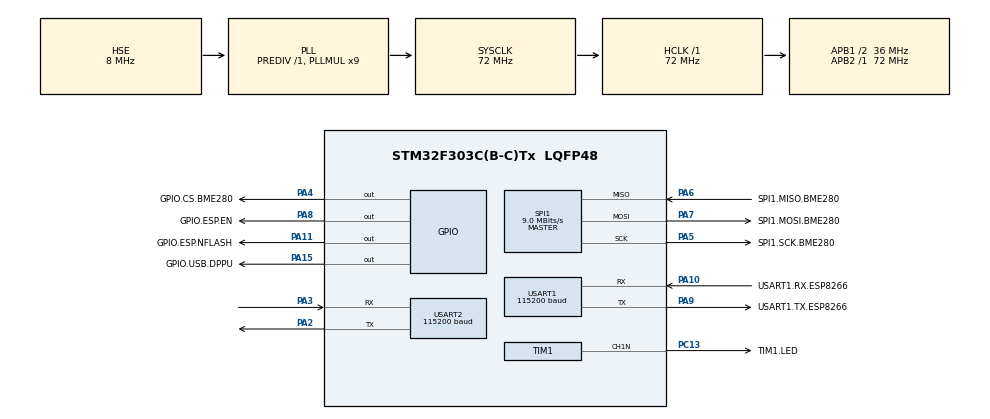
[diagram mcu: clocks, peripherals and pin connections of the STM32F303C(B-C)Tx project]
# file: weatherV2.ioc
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Dma.Request0=SPI1_RX
Dma.Request1=SPI1_TX
Dma.Request2=USART1_TX
Dma.Request3=USART1_RX
Dma.Request4=USART2_TX
Dma.Request5=USART2_RX
Dma.SPI1_RX.0.Direction=DMA_PERIPH_TO_MEMORY
Dma.SPI1_RX.0.Instance=DMA1_Channel2
Dma.SPI1_RX.0.MemDataAlignment=DMA_MDATAALIGN_BYTE
Dma.SPI1_RX.0.MemInc=DMA_MINC_ENABLE
Dma.SPI1_RX.0.Mode=DMA_NORMAL
Dma.SPI1_RX.0.PeriphDataAlignment=DMA_PDATAALIGN_BYTE
Dma.SPI1_RX.0.PeriphInc=DMA_PINC_DISABLE
Dma.SPI1_RX.0.Priority=DMA_PRIORITY_LOW
Dma.SPI1_TX.1.Direction=DMA_MEMORY_TO_PERIPH
Dma.SPI1_TX.1.Instance=DMA1_Channel3
Dma.SPI1_TX.1.MemDataAlignment=DMA_MDATAALIGN_BYTE
Dma.SPI1_TX.1.MemInc=DMA_MINC_ENABLE
Dma.SPI1_TX.1.Mode=DMA_NORMAL
Dma.SPI1_TX.1.PeriphDataAlignment=DMA_PDATAALIGN_BYTE
Dma.SPI1_TX.1.PeriphInc=DMA_PINC_DISABLE
Dma.SPI1_TX.1.Priority=DMA_PRIORITY_LOW
Dma.USART1_RX.3.Direction=DMA_PERIPH_TO_MEMORY
Dma.USART1_RX.3.Instance=DMA1_Channel5
Dma.USART1_RX.3.MemDataAlignment=DMA_MDATAALIGN_BYTE
Dma.USART1_RX.3.MemInc=DMA_MINC_ENABLE
Dma.USART1_RX.3.Mode=DMA_CIRCULAR
Dma.USART1_RX.3.PeriphDataAlignment=DMA_PDATAALIGN_BYTE
Dma.USART1_RX.3.PeriphInc=DMA_PINC_DISABLE
Dma.USART1_RX.3.Priority=DMA_PRIORITY_LOW
Dma.USART1_TX.2.Direction=DMA_MEMORY_TO_PERIPH
Dma.USART1_TX.2.Instance=DMA1_Channel4
Dma.USART1_TX.2.MemDataAlignment=DMA_MDATAALIGN_BYTE
Dma.USART1_TX.2.MemInc=DMA_MINC_ENABLE
Dma.USART1_TX.2.Mode=DMA_NORMAL
Dma.USART1_TX.2.PeriphDataAlignment=DMA_PDATAALIGN_BYTE
Dma.USART1_TX.2.PeriphInc=DMA_PINC_DISABLE
Dma.USART1_TX.2.Priority=DMA_PRIORITY_LOW
Dma.USART2_RX.5.Direction=DMA_PERIPH_TO_MEMORY
Dma.USART2_RX.5.Instance=DMA1_Channel6
Dma.USART2_RX.5.MemDataAlignment=DMA_MDATAALIGN_BYTE
Dma.USART2_RX.5.MemInc=DMA_MINC_ENABLE
Dma.USART2_RX.5.Mode=DMA_CIRCULAR
Dma.USART2_RX.5.PeriphDataAlignment=DMA_PDATAALIGN_BYTE
Dma.USART2_RX.5.PeriphInc=DMA_PINC_DISABLE
Dma.USART2_RX.5.Priority=DMA_PRIORITY_LOW
Dma.USART2_TX.4.Direction=DMA_MEMORY_TO_PERIPH
Dma.USART2_TX.4.Instance=DMA1_Channel7
Dma.USART2_TX.4.MemDataAlignment=DMA_MDATAALIGN_BYTE
Dma.USART2_TX.4.MemInc=DMA_MINC_ENABLE
Dma.USART2_TX.4.Mode=DMA_NORMAL
Dma.USART2_TX.4.PeriphDataAlignment=DMA_PDATAALIGN_BYTE
Dma.USART2_TX.4.PeriphInc=DMA_PINC_DISABLE
Dma.USART2_TX.4.Priority=DMA_PRIORITY_LOW
FREERTOS.Tasks01=defaultTask,24,128,StartDefaultTask,Default,NULL,Dynamic,NULL,NULL
Mcu.Family=STM32F3
Mcu.Name=STM32F303C(B-C)Tx
Mcu.Package=LQFP48
NVIC.DMA1_Channel2_IRQn=true\:5\:0\:false\:false\:true\:true\:false\:true\:true
NVIC.DMA1_Channel3_IRQn=true\:5\:0\:false\:false\:true\:true\:false\:true\:true
NVIC.DMA1_Channel4_IRQn=true\:5\:0\:false\:false\:true\:true\:false\:true\:true
NVIC.DMA1_Channel5_IRQn=true\:5\:0\:false\:false\:true\:true\:false\:true\:true
NVIC.DMA1_Channel6_IRQn=true\:5\:0\:false\:false\:true\:true\:false\:true\:true
NVIC.DMA1_Channel7_IRQn=true\:5\:0\:false\:false\:true\:true\:false\:true\:true
NVIC.PriorityGroup=NVIC_PRIORITYGROUP_4
NVIC.RTC_WKUP_IRQn=true\:5\:0\:false\:false\:true\:true\:true\:true\:true
NVIC.TIM2_IRQn=true\:15\:0\:false\:false\:true\:false\:false\:true\:true
NVIC.TimeBase=TIM2_IRQn
NVIC.TimeBaseIP=TIM2
NVIC.USART1_IRQn=true\:5\:0\:false\:false\:true\:true\:true\:true\:true
NVIC.USART2_IRQn=true\:5\:0\:false\:false\:true\:true\:true\:true\:true
PA10.GPIO_Label=USART1.RX.ESP8266
PA10.Mode=Asynchronous
PA10.Signal=USART1_RX
PA11.GPIO_Label=GPIO.ESP.NFLASH
PA11.PinState=GPIO_PIN_SET
PA11.Signal=GPIO_Output
PA13.Mode=Serial_Wire
PA13.Signal=SYS_JTMS-SWDIO
PA14.Mode=Serial_Wire
PA14.Signal=SYS_JTCK-SWCLK
PA15.GPIO_Label=GPIO.USB.DPPU
PA15.Signal=GPIO_Output
PA2.Mode=Asynchronous
PA2.Signal=USART2_TX
PA3.Mode=Asynchronous
PA3.Signal=USART2_RX
PA4.GPIO_Label=GPIO.CS.BME280
PA4.PinState=GPIO_PIN_SET
PA4.Signal=GPIO_Output
PA5.GPIO_Label=SPI1.SCK.BME280
PA5.Mode=Full_Duplex_Master
PA5.Signal=SPI1_SCK
PA6.GPIO_Label=SPI1.MISO.BME280
PA6.Mode=Full_Duplex_Master
PA6.Signal=SPI1_MISO
PA7.GPIO_Label=SPI1.MOSI.BME280
PA7.Mode=Full_Duplex_Master
PA7.Signal=SPI1_MOSI
PA8.GPIO_Label=GPIO.ESP.EN
PA8.Signal=GPIO_Output
PA9.GPIO_Label=USART1.TX.ESP8266
PA9.Mode=Asynchronous
PA9.Signal=USART1_TX
PC13.GPIO_Label=TIM1.LED
PC13.Mode=PWM Generation1 CH1N
PC13.Signal=TIM1_CH1N
PF0-OSC_IN.Mode=HSE-External-Oscillator
PF0-OSC_IN.Signal=RCC_OSC_IN
PF1-OSC_OUT.Mode=HSE-External-Oscillator
PF1-OSC_OUT.Signal=RCC_OSC_OUT
ProjectManager.HeapSize=0x200
ProjectManager.StackSize=0x400
ProjectManager.TargetToolchain=STM32CubeIDE
RCC.AHBFreq_Value=72000000
RCC.APB1CLKDivider=RCC_HCLK_DIV2
RCC.APB1Freq_Value=36000000
RCC.APB1TimFreq_Value=72000000
RCC.APB2Freq_Value=72000000
RCC.APB2TimFreq_Value=72000000
RCC.CortexFreq_Value=72000000
RCC.HCLKFreq_Value=72000000
RCC.HSE_VALUE=8000000
RCC.HSI_VALUE=8000000
RCC.LSE_VALUE=32768
RCC.PLLMUL=RCC_PLL_MUL9
RCC.PLLSourceVirtual=RCC_PLLSOURCE_HSE
RCC.PRESCALERUSB=RCC_USBCLKSOURCE_PLL_DIV1_5
RCC.SYSCLKFreq_VALUE=72000000
RCC.SYSCLKSourceVirtual=RCC_SYSCLKSOURCE_PLLCLK
RCC.USBFreq_Value=48000000
RTC.AsynchPrediv=100-1
RTC.SynchPrediv=400-1
RTC.WakeUpClock-WakeUp=RTC_WAKEUPCLOCK_CK_SPRE_16BITS
RTC.WakeUpCounter-WakeUp=60
SPI1.BaudRatePrescaler=SPI_BAUDRATEPRESCALER_8
SPI1.CalculateBaudRate=9.0 MBits/s
SPI1.DataSize=SPI_DATASIZE_8BIT
SPI1.Direction=SPI_DIRECTION_2LINES
SPI1.Mode=SPI_MODE_MASTER
SPI1.VirtualType=VM_MASTER
TIM1.Channel-PWM\ Generation1\ CH1N=TIM_CHANNEL_1
TIM1.ClockDivision=TIM_CLOCKDIVISION_DIV4
TIM1.OCNPolarity_1=TIM_OCNPOLARITY_LOW
TIM1.Period=100-1
TIM1.Prescaler=1800-1
TIM1.Pulse-PWM\ Generation1\ CH1N=50
USART1.BaudRate=115200
USART1.OverSampling=UART_OVERSAMPLING_8
USART1.VirtualMode-Asynchronous=VM_ASYNC
USART2.BaudRate=115200
USART2.VirtualMode-Asynchronous=VM_ASYNC
VP_FREERTOS_VS_CMSIS_V2.Mode=CMSIS_V2
VP_IWDG_VS_IWDG.Mode=IWDG_Activate
VP_RTC_VS_RTC_Activate.Mode=RTC_Enabled
VP_RTC_VS_RTC_WakeUp_intern.Mode=WakeUp
VP_SYS_VS_tim2.Mode=TIM2
VP_TIM1_VS_ClockSourceINT.Mode=Internal
board=custom

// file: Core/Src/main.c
/* USER CODE BEGIN Header */
/**
  ******************************************************************************
  * @file           : main.c
  * @brief          : Main program body
  ******************************************************************************
  * @attention
  *
  * Copyright (c) 2024 STMicroelectronics.
  * All rights reserved.
  *
  * This software is licensed under terms that can be found in the LICENSE file
  * in the root directory of this software component.
  * If no LICENSE file comes with this software, it is provided AS-IS.
  *
  ******************************************************************************
  */
/* USER CODE END Header */
#include "main.h"
#include "cmsis_os.h"

/* USER CODE BEGIN Includes */
#include "weather.h"
#include "comms.h"
#include "usart.h"
#include "esp.h"
#include "pwr.h"
#include "led.h"

/* USER CODE END Includes */

IWDG_HandleTypeDef hiwdg;

RTC_HandleTypeDef hrtc;

SPI_HandleTypeDef hspi1;
DMA_HandleTypeDef hdma_spi1_rx;
DMA_HandleTypeDef hdma_spi1_tx;

TIM_HandleTypeDef htim1;

UART_HandleTypeDef huart1;
UART_HandleTypeDef huart2;
DMA_HandleTypeDef hdma_usart1_tx;
DMA_HandleTypeDef hdma_usart1_rx;
DMA_HandleTypeDef hdma_usart2_tx;
DMA_HandleTypeDef hdma_usart2_rx;

/* Definitions for defaultTask */
osThreadId_t defaultTaskHandle;
const osThreadAttr_t defaultTask_attributes = {
  .name = "defaultTask",
  .stack_size = 128 * 4,
  .priority = (osPriority_t) osPriorityNormal,
};
/* USER CODE BEGIN PV */
osThreadId_t weatherTaskHandle;
osEventFlagsId_t systemEvents;

/* USER CODE END PV */

void SystemClock_Config(void);
static void MX_GPIO_Init(void);
static void MX_DMA_Init(void);
static void MX_SPI1_Init(void);
static void MX_USART1_UART_Init(void);
static void MX_TIM1_Init(void);
static void MX_USART2_UART_Init(void);
static void MX_IWDG_Init(void);
static void MX_RTC_Init(void);
void StartDefaultTask(void *argument);

int main(void)
{

  /* MCU Configuration--------------------------------------------------------*/

  /* Reset of all peripherals, Initializes the Flash interface and the Systick. */
  HAL_Init();

  /* Configure the system clock */
  SystemClock_Config();

  /* Initialize all configured peripherals */
  MX_GPIO_Init();
  MX_DMA_Init();
  MX_SPI1_Init();
  MX_USART1_UART_Init();
  MX_TIM1_Init();
  MX_USART2_UART_Init();
  MX_IWDG_Init();
  MX_RTC_Init();
  /* USER CODE BEGIN 2 */
  USART_Init();

  WTHR_Init();
  ESP_Init();
  PWR_Init();

  /* USER CODE END 2 */

  /* Init scheduler */
  osKernelInitialize();

  /* Create the thread(s) */
  /* creation of defaultTask */
  defaultTaskHandle = osThreadNew(StartDefaultTask, NULL, &defaultTask_attributes);

  /* Start scheduler */
  osKernelStart();

  /* We should never get here as control is now taken by the scheduler */
  /* Infinite loop */
  while (1)
  {

  }
}

void SystemClock_Config(void)
{
  RCC_OscInitTypeDef RCC_OscInitStruct = {0};
  RCC_ClkInitTypeDef RCC_ClkInitStruct = {0};
  RCC_PeriphCLKInitTypeDef PeriphClkInit = {0};

  /** Initializes the RCC Oscillators according to the specified parameters
  * in the RCC_OscInitTypeDef structure.
  */
  RCC_OscInitStruct.OscillatorType = RCC_OSCILLATORTYPE_LSI|RCC_OSCILLATORTYPE_HSE;
  RCC_OscInitStruct.HSEState = RCC_HSE_ON;
  RCC_OscInitStruct.HSEPredivValue = RCC_HSE_PREDIV_DIV1;
  RCC_OscInitStruct.HSIState = RCC_HSI_ON;
  RCC_OscInitStruct.LSIState = RCC_LSI_ON;
  RCC_OscInitStruct.PLL.PLLState = RCC_PLL_ON;
  RCC_OscInitStruct.PLL.PLLSource = RCC_PLLSOURCE_HSE;
  RCC_OscInitStruct.PLL.PLLMUL = RCC_PLL_MUL9;
  if (HAL_RCC_OscConfig(&RCC_OscInitStruct) != HAL_OK)
  {
    Error_Handler();
  }

  /** Initializes the CPU, AHB and APB buses clocks
  */
  RCC_ClkInitStruct.ClockType = RCC_CLOCKTYPE_HCLK|RCC_CLOCKTYPE_SYSCLK
                              |RCC_CLOCKTYPE_PCLK1|RCC_CLOCKTYPE_PCLK2;
  RCC_ClkInitStruct.SYSCLKSource = RCC_SYSCLKSOURCE_PLLCLK;
  RCC_ClkInitStruct.AHBCLKDivider = RCC_SYSCLK_DIV1;
  RCC_ClkInitStruct.APB1CLKDivider = RCC_HCLK_DIV2;
  RCC_ClkInitStruct.APB2CLKDivider = RCC_HCLK_DIV1;

  if (HAL_RCC_ClockConfig(&RCC_ClkInitStruct, FLASH_LATENCY_2) != HAL_OK)
  {
    Error_Handler();
  }
  PeriphClkInit.PeriphClockSelection = RCC_PERIPHCLK_USART1|RCC_PERIPHCLK_USART2
                              |RCC_PERIPHCLK_RTC|RCC_PERIPHCLK_TIM1;
  PeriphClkInit.Usart1ClockSelection = RCC_USART1CLKSOURCE_PCLK2;
  PeriphClkInit.Usart2ClockSelection = RCC_USART2CLKSOURCE_PCLK1;
  PeriphClkInit.RTCClockSelection = RCC_RTCCLKSOURCE_LSI;
  PeriphClkInit.Tim1ClockSelection = RCC_TIM1CLK_HCLK;
  if (HAL_RCCEx_PeriphCLKConfig(&PeriphClkInit) != HAL_OK)
  {
    Error_Handler();
  }
}

static void MX_IWDG_Init(void)
{

  hiwdg.Instance = IWDG;
  hiwdg.Init.Prescaler = IWDG_PRESCALER_4;
  hiwdg.Init.Window = 4095;
  hiwdg.Init.Reload = 4095;
  if (HAL_IWDG_Init(&hiwdg) != HAL_OK)
  {
    Error_Handler();
  }
  /* USER CODE BEGIN IWDG_Init 2 */
  __HAL_DBGMCU_FREEZE_IWDG();

  /* USER CODE END IWDG_Init 2 */

}

static void MX_RTC_Init(void)
{

  /** Initialize RTC Only
  */
  hrtc.Instance = RTC;
  hrtc.Init.HourFormat = RTC_HOURFORMAT_24;
  hrtc.Init.AsynchPrediv = 100-1;
  hrtc.Init.SynchPrediv = 400-1;
  hrtc.Init.OutPut = RTC_OUTPUT_DISABLE;
  hrtc.Init.OutPutPolarity = RTC_OUTPUT_POLARITY_HIGH;
  hrtc.Init.OutPutType = RTC_OUTPUT_TYPE_OPENDRAIN;
  if (HAL_RTC_Init(&hrtc) != HAL_OK)
  {
    Error_Handler();
  }

  /** Enable the WakeUp
  */
  if (HAL_RTCEx_SetWakeUpTimer_IT(&hrtc, 60, RTC_WAKEUPCLOCK_CK_SPRE_16BITS) != HAL_OK)
  {
    Error_Handler();
  }

}

static void MX_SPI1_Init(void)
{

  /* SPI1 parameter configuration*/
  hspi1.Instance = SPI1;
  hspi1.Init.Mode = SPI_MODE_MASTER;
  hspi1.Init.Direction = SPI_DIRECTION_2LINES;
  hspi1.Init.DataSize = SPI_DATASIZE_8BIT;
  hspi1.Init.CLKPolarity = SPI_POLARITY_LOW;
  hspi1.Init.CLKPhase = SPI_PHASE_1EDGE;
  hspi1.Init.NSS = SPI_NSS_SOFT;
  hspi1.Init.BaudRatePrescaler = SPI_BAUDRATEPRESCALER_8;
  hspi1.Init.FirstBit = SPI_FIRSTBIT_MSB;
  hspi1.Init.TIMode = SPI_TIMODE_DISABLE;
  hspi1.Init.CRCCalculation = SPI_CRCCALCULATION_DISABLE;
  hspi1.Init.CRCPolynomial = 7;
  hspi1.Init.CRCLength = SPI_CRC_LENGTH_DATASIZE;
  hspi1.Init.NSSPMode = SPI_NSS_PULSE_ENABLE;
  if (HAL_SPI_Init(&hspi1) != HAL_OK)
  {
    Error_Handler();
  }

}

static void MX_TIM1_Init(void)
{

  TIM_ClockConfigTypeDef sClockSourceConfig = {0};
  TIM_MasterConfigTypeDef sMasterConfig = {0};
  TIM_OC_InitTypeDef sConfigOC = {0};
  TIM_BreakDeadTimeConfigTypeDef sBreakDeadTimeConfig = {0};

  htim1.Instance = TIM1;
  htim1.Init.Prescaler = 1800-1;
  htim1.Init.CounterMode = TIM_COUNTERMODE_UP;
  htim1.Init.Period = 100-1;
  htim1.Init.ClockDivision = TIM_CLOCKDIVISION_DIV4;
  htim1.Init.RepetitionCounter = 0;
  htim1.Init.AutoReloadPreload = TIM_AUTORELOAD_PRELOAD_DISABLE;
  if (HAL_TIM_Base_Init(&htim1) != HAL_OK)
  {
    Error_Handler();
  }
  sClockSourceConfig.ClockSource = TIM_CLOCKSOURCE_INTERNAL;
  if (HAL_TIM_ConfigClockSource(&htim1, &sClockSourceConfig) != HAL_OK)
  {
    Error_Handler();
  }
  if (HAL_TIM_PWM_Init(&htim1) != HAL_OK)
  {
    Error_Handler();
  }
  sMasterConfig.MasterOutputTrigger = TIM_TRGO_RESET;
  sMasterConfig.MasterOutputTrigger2 = TIM_TRGO2_RESET;
  sMasterConfig.MasterSlaveMode = TIM_MASTERSLAVEMODE_DISABLE;
  if (HAL_TIMEx_MasterConfigSynchronization(&htim1, &sMasterConfig) != HAL_OK)
  {
    Error_Handler();
  }
  sConfigOC.OCMode = TIM_OCMODE_PWM1;
  sConfigOC.Pulse = 50;
  sConfigOC.OCPolarity = TIM_OCPOLARITY_HIGH;
  sConfigOC.OCNPolarity = TIM_OCNPOLARITY_LOW;
  sConfigOC.OCFastMode = TIM_OCFAST_DISABLE;
  sConfigOC.OCIdleState = TIM_OCIDLESTATE_RESET;
  sConfigOC.OCNIdleState = TIM_OCNIDLESTATE_RESET;
  if (HAL_TIM_PWM_ConfigChannel(&htim1, &sConfigOC, TIM_CHANNEL_1) != HAL_OK)
  {
    Error_Handler();
  }
  sBreakDeadTimeConfig.OffStateRunMode = TIM_OSSR_DISABLE;
  sBreakDeadTimeConfig.OffStateIDLEMode = TIM_OSSI_DISABLE;
  sBreakDeadTimeConfig.LockLevel = TIM_LOCKLEVEL_OFF;
  sBreakDeadTimeConfig.DeadTime = 0;
  sBreakDeadTimeConfig.BreakState = TIM_BREAK_DISABLE;
  sBreakDeadTimeConfig.BreakPolarity = TIM_BREAKPOLARITY_HIGH;
  sBreakDeadTimeConfig.BreakFilter = 0;
  sBreakDeadTimeConfig.Break2State = TIM_BREAK2_DISABLE;
  sBreakDeadTimeConfig.Break2Polarity = TIM_BREAK2POLARITY_HIGH;
  sBreakDeadTimeConfig.Break2Filter = 0;
  sBreakDeadTimeConfig.AutomaticOutput = TIM_AUTOMATICOUTPUT_DISABLE;
  if (HAL_TIMEx_ConfigBreakDeadTime(&htim1, &sBreakDeadTimeConfig) != HAL_OK)
  {
    Error_Handler();
  }
  /* USER CODE BEGIN TIM1_Init 2 */
	HAL_TIMEx_PWMN_Start(&htim1, TIM_CHANNEL_1);

  /* USER CODE END TIM1_Init 2 */
  HAL_TIM_MspPostInit(&htim1);

}

static void MX_USART1_UART_Init(void)
{

  huart1.Instance = USART1;
  huart1.Init.BaudRate = 115200;
  huart1.Init.WordLength = UART_WORDLENGTH_8B;
  huart1.Init.StopBits = UART_STOPBITS_1;
  huart1.Init.Parity = UART_PARITY_NONE;
  huart1.Init.Mode = UART_MODE_TX_RX;
  huart1.Init.HwFlowCtl = UART_HWCONTROL_NONE;
  huart1.Init.OverSampling = UART_OVERSAMPLING_8;
  huart1.Init.OneBitSampling = UART_ONE_BIT_SAMPLE_DISABLE;
  huart1.AdvancedInit.AdvFeatureInit = UART_ADVFEATURE_NO_INIT;
  if (HAL_UART_Init(&huart1) != HAL_OK)
  {
    Error_Handler();
  }

}

static void MX_USART2_UART_Init(void)
{

  huart2.Instance = USART2;
  huart2.Init.BaudRate = 115200;
  huart2.Init.WordLength = UART_WORDLENGTH_8B;
  huart2.Init.StopBits = UART_STOPBITS_1;
  huart2.Init.Parity = UART_PARITY_NONE;
  huart2.Init.Mode = UART_MODE_TX_RX;
  huart2.Init.HwFlowCtl = UART_HWCONTROL_NONE;
  huart2.Init.OverSampling = UART_OVERSAMPLING_16;
  huart2.Init.OneBitSampling = UART_ONE_BIT_SAMPLE_DISABLE;
  huart2.AdvancedInit.AdvFeatureInit = UART_ADVFEATURE_NO_INIT;
  if (HAL_UART_Init(&huart2) != HAL_OK)
  {
    Error_Handler();
  }

}

static void MX_DMA_Init(void)
{

  /* DMA controller clock enable */
  __HAL_RCC_DMA1_CLK_ENABLE();

  /* DMA interrupt init */
  /* DMA1_Channel2_IRQn interrupt configuration */
  HAL_NVIC_SetPriority(DMA1_Channel2_IRQn, 5, 0);
  HAL_NVIC_EnableIRQ(DMA1_Channel2_IRQn);
  /* DMA1_Channel3_IRQn interrupt configuration */
  HAL_NVIC_SetPriority(DMA1_Channel3_IRQn, 5, 0);
  HAL_NVIC_EnableIRQ(DMA1_Channel3_IRQn);
  /* DMA1_Channel4_IRQn interrupt configuration */
  HAL_NVIC_SetPriority(DMA1_Channel4_IRQn, 5, 0);
  HAL_NVIC_EnableIRQ(DMA1_Channel4_IRQn);
  /* DMA1_Channel5_IRQn interrupt configuration */
  HAL_NVIC_SetPriority(DMA1_Channel5_IRQn, 5, 0);
  HAL_NVIC_EnableIRQ(DMA1_Channel5_IRQn);
  /* DMA1_Channel6_IRQn interrupt configuration */
  HAL_NVIC_SetPriority(DMA1_Channel6_IRQn, 5, 0);
  HAL_NVIC_EnableIRQ(DMA1_Channel6_IRQn);
  /* DMA1_Channel7_IRQn interrupt configuration */
  HAL_NVIC_SetPriority(DMA1_Channel7_IRQn, 5, 0);
  HAL_NVIC_EnableIRQ(DMA1_Channel7_IRQn);

}

static void MX_GPIO_Init(void)
{
  GPIO_InitTypeDef GPIO_InitStruct = {0};

  /* GPIO Ports Clock Enable */
  __HAL_RCC_GPIOC_CLK_ENABLE();
  __HAL_RCC_GPIOF_CLK_ENABLE();
  __HAL_RCC_GPIOA_CLK_ENABLE();

  /*Configure GPIO pin Output Level */
  HAL_GPIO_WritePin(GPIOA, GPIO_CS_BME280_Pin|GPIO_ESP_NFLASH_Pin, GPIO_PIN_SET);

  /*Configure GPIO pin Output Level */
  HAL_GPIO_WritePin(GPIOA, GPIO_ESP_EN_Pin|GPIO_USB_DPPU_Pin, GPIO_PIN_RESET);

  /*Configure GPIO pins : GPIO_CS_BME280_Pin GPIO_ESP_EN_Pin GPIO_ESP_NFLASH_Pin GPIO_USB_DPPU_Pin */
  GPIO_InitStruct.Pin = GPIO_CS_BME280_Pin|GPIO_ESP_EN_Pin|GPIO_ESP_NFLASH_Pin|GPIO_USB_DPPU_Pin;
  GPIO_InitStruct.Mode = GPIO_MODE_OUTPUT_PP;
  GPIO_InitStruct.Pull = GPIO_NOPULL;
  GPIO_InitStruct.Speed = GPIO_SPEED_FREQ_LOW;
  HAL_GPIO_Init(GPIOA, &GPIO_InitStruct);

}

/* USER CODE BEGIN 4 */

/**
  * @brief  Tx and Rx Transfer completed callback.
  * @param  hspi pointer to a SPI_HandleTypeDef structure that contains
  *               the configuration information for SPI module.
  * @retval None
  */
void HAL_SPI_TxRxCpltCallback(SPI_HandleTypeDef *hspi)
{
	WTHR_spiTxRxCompleteCallback();
}

/**
  * @brief  Wakeup Timer callback.
  * @param  hrtc pointer to a RTC_HandleTypeDef structure that contains
  *                the configuration information for RTC.
  * @retval None
  */
void HAL_RTCEx_WakeUpTimerEventCallback(RTC_HandleTypeDef *hrtc)
{
	LED_Toggle();
}

/* USER CODE END 4 */

void StartDefaultTask(void *argument)
{
  /* USER CODE BEGIN 5 */
  /* Infinite loop */
  for(;;)
  {
	  HAL_IWDG_Refresh(&hiwdg);

	  USART_milli();
	  COMMS_milli();

	  osDelay(1);
  }
  /* USER CODE END 5 */
}

void HAL_TIM_PeriodElapsedCallback(TIM_HandleTypeDef *htim)
{
  if (htim->Instance == TIM2) {
    HAL_IncTick();
  }
}

void Error_Handler(void)
{
  __disable_irq();
  while (1)
  {
  }
}
